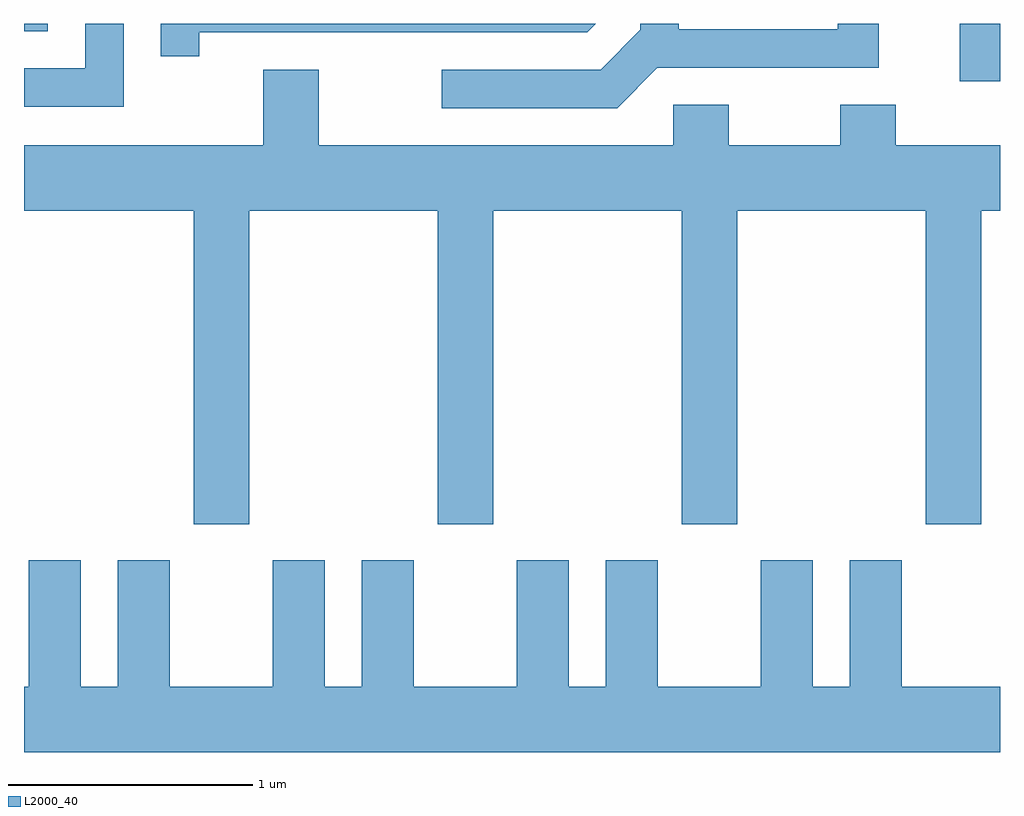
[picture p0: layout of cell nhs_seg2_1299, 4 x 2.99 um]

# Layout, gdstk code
import gdstk
lib = gdstk.Library(unit=1e-6, precision=1e-09)
def R(c, l, rs):  # rectangles x0, y0, x1, y1
    for r in rs: c.add(gdstk.rectangle(r[:2], r[2:], *l))
def P(c, l, *ps):  # polygons
    for p in ps: c.add(gdstk.Polygon(p, *l))
L2000_40 = (2000, 40)

nhs_seg2_1299 = lib.new_cell('nhs_seg2_1299')
R(nhs_seg2_1299, L2000_40, [(227.446,995.566,227.611,995.802), (223.611,995.771,223.709,995.802)])
P(nhs_seg2_1299, L2000_40, [(226.207,995.621),(227.114,995.621),(227.114,995.802),(226.946,995.802),(226.946,995.779),(226.294,995.779),(226.294,995.802),(226.136,995.802),(226.136,995.777),(225.974,995.614),(225.323,995.614),(225.323,995.456),(226.042,995.456)],
  [(224.019,995.802),(223.861,995.802),(223.861,995.619),(223.611,995.619),(223.611,995.461),(224.019,995.461)],
  [(224.329,995.766),(225.919,995.766),(225.954,995.802),(224.171,995.802),(224.171,995.668),(224.329,995.668)],
  [(224.534,995.036),(225.306,995.036),(225.306,993.751),(225.534,993.751),(225.534,995.036),(226.306,995.036),(226.306,993.751),(226.534,993.751),(226.534,995.036),(227.306,995.036),(227.306,993.751),(227.534,993.751),(227.534,995.036),(227.611,995.036),(227.611,995.304),(227.184,995.304),(227.184,995.469),(226.956,995.469),(226.956,995.304),(226.499,995.304),(226.499,995.469),(226.271,995.469),(226.271,995.304),(224.819,995.304),(224.819,995.614),(224.591,995.614),(224.591,995.304),(223.611,995.304),(223.611,995.036),(224.306,995.036),(224.306,993.751),(224.534,993.751)],
  [(227.611,993.084),(227.209,993.084),(227.209,993.604),(226.996,993.604),(226.996,993.084),(226.844,993.084),(226.844,993.604),(226.631,993.604),(226.631,993.084),(226.209,993.084),(226.209,993.604),(225.996,993.604),(225.996,993.084),(225.844,993.084),(225.844,993.604),(225.631,993.604),(225.631,993.084),(225.209,993.084),(225.209,993.604),(224.996,993.604),(224.996,993.084),(224.844,993.084),(224.844,993.604),(224.631,993.604),(224.631,993.084),(224.209,993.084),(224.209,993.604),(223.996,993.604),(223.996,993.084),(223.844,993.084),(223.844,993.604),(223.631,993.604),(223.631,993.084),(223.611,993.084),(223.611,992.816),(227.611,992.816)])

lib.write_gds('nhs_seg2_1299.gds')
